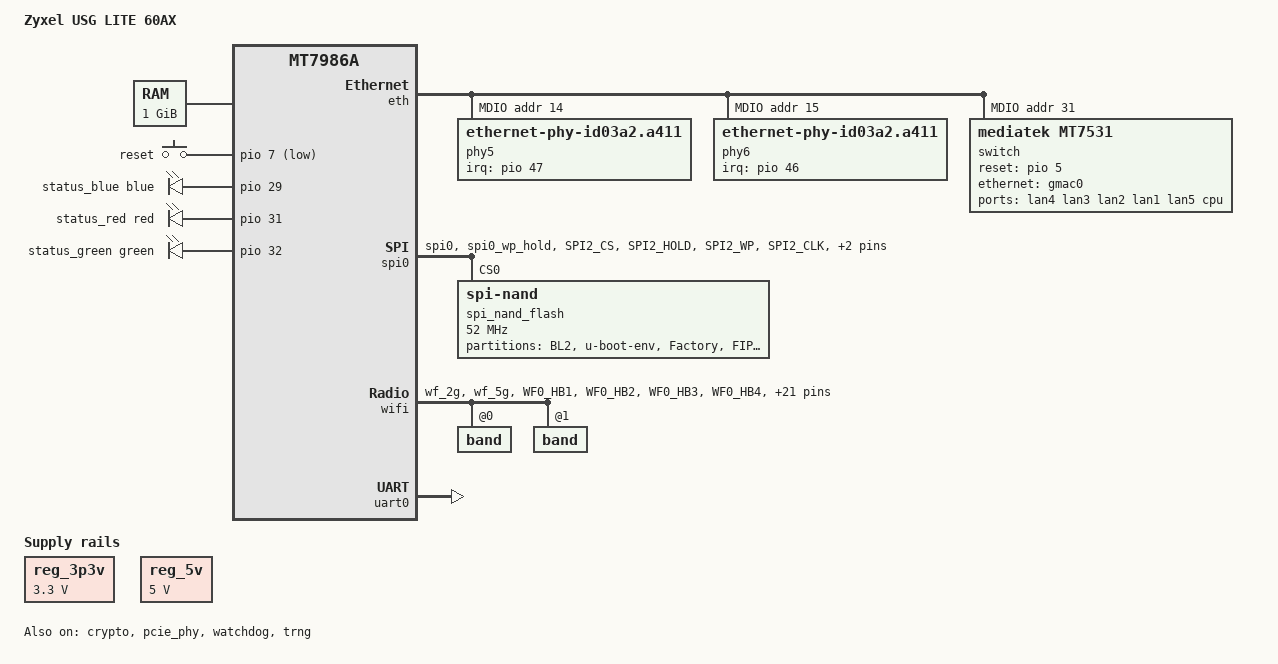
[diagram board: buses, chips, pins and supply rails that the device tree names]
// SPDX-License-Identifier: (GPL-2.0 OR MIT)

/dts-v1/;
#include <dt-bindings/input/input.h>
#include <dt-bindings/gpio/gpio.h>
#include <dt-bindings/leds/common.h>
#include <dt-bindings/pinctrl/mt65xx.h>

#include "mt7986a.dtsi"

/ {
	model = "Zyxel USG LITE 60AX";
	compatible = "zyxel,usg-lite-60ax", "mediatek,mt7986a";

	aliases {
		serial0 = &uart0;
		label-mac-device = &gmac0;
		led-boot = &status_green;
		led-failsafe = &status_red;
		led-running = &status_green;
		led-upgrade = &status_blue;
	};

	chosen {
		stdout-path = "serial0:115200n8";
		bootargs-override = "";
		bootargs = "earlycon=uart8250,mmio32,0x11002000 console=ttyS0,115200n8";
	};

	memory@40000000 {
		reg = <0 0x40000000 0 0x40000000>;
		device_type = "memory";
	};

	keys {
		compatible = "gpio-keys";

		reset {
			label = "reset";
			gpios = <&pio 7 GPIO_ACTIVE_LOW>;
			linux,code = <KEY_RESTART>;
		};

	};

	leds {
		compatible = "gpio-leds";

		status_blue: status-blue {
			color = <LED_COLOR_ID_BLUE>;
			function = LED_FUNCTION_STATUS;
			gpios = <&pio 29 GPIO_ACTIVE_HIGH>;
		};

		status_red: status-red {
			color = <LED_COLOR_ID_RED>;
			function = LED_FUNCTION_STATUS;
			gpios = <&pio 31 GPIO_ACTIVE_HIGH>;
		};

		status_green: status-green {
			color = <LED_COLOR_ID_GREEN>;
			function = LED_FUNCTION_STATUS;
			gpios = <&pio 32 GPIO_ACTIVE_HIGH>;
		};
	};

	reg_3p3v: regulator-3p3v {
		compatible = "regulator-fixed";
		regulator-name = "fixed-3.3V";
		regulator-min-microvolt = <3300000>;
		regulator-max-microvolt = <3300000>;
		regulator-boot-on;
		regulator-always-on;
	};

	reg_5v: regulator-5v {
		compatible = "regulator-fixed";
		regulator-name = "fixed-5V";
		regulator-min-microvolt = <5000000>;
		regulator-max-microvolt = <5000000>;
		regulator-boot-on;
		regulator-always-on;
	};
};

&crypto {
	status = "okay";
};

&eth {
	status = "okay";

	gmac0: mac@0 {
		/* LAN */
		compatible = "mediatek,eth-mac";
		reg = <0>;
		phy-mode = "2500base-x";

		nvmem-cell-names = "mac-address";
		nvmem-cells = <&macaddr_mrd_1fff8 0>;

		fixed-link {
			speed = <2500>;
			full-duplex;
			pause;
		};
	};

	gmac1: mac@1 {
		/* WAN */
		compatible = "mediatek,eth-mac";
		reg = <1>;
		phy-mode = "2500base-x";
		phy-handle = <&phy6>;
		label = "wan";

		nvmem-cell-names = "mac-address";
		nvmem-cells = <&macaddr_mrd_1fff8 3>;
	};

	mdio: mdio-bus {
		#address-cells = <1>;
		#size-cells = <0>;
	};
};

&mdio {
	reset-gpios = <&pio 10 GPIO_ACTIVE_LOW>;
	reset-delay-us = <100000>;
	reset-post-delay-us = <100000>;

	phy5: phy@5 {
		compatible = "ethernet-phy-id03a2.a411";
		reg = <14>;
		interrupt-parent = <&pio>;
		interrupts = <47 IRQ_TYPE_LEVEL_LOW>;

		leds {
			#address-cells = <1>;
			#size-cells = <0>;

			led@0 {
				reg = <0>;
				status = "disabled";
			};

			led@1 {
				reg = <1>;
				color = <LED_COLOR_ID_GREEN>;
				function = LED_FUNCTION_LAN;
				active-low;
			};

			led@2 {
				reg = <2>;
				color = <LED_COLOR_ID_AMBER>;
				function = LED_FUNCTION_LAN;
				active-low;
			};
		};
	};

	phy6: phy@6 {
		compatible = "ethernet-phy-id03a2.a411";
		reg = <15>;
		interrupt-parent = <&pio>;
		interrupts = <46 IRQ_TYPE_LEVEL_LOW>;

		leds {
			#address-cells = <1>;
			#size-cells = <0>;

			led@0 {
				reg = <0>;
				status = "disabled";
			};

			led@1 {
				reg = <1>;
				color = <LED_COLOR_ID_GREEN>;
				function = LED_FUNCTION_WAN;
				active-low;
			};

			led@2 {
				reg = <2>;
				color = <LED_COLOR_ID_AMBER>;
				function = LED_FUNCTION_WAN;
				active-low;
			};
		};
	};

	switch: switch@1f {
		compatible = "mediatek,mt7531";
		reg = <31>;
		reset-gpios = <&pio 5 GPIO_ACTIVE_HIGH>;
	};
};

&pio {
	spi_flash_pins: spi-flash-pins-33-to-38 {
		mux {
			function = "spi";
			groups = "spi0", "spi0_wp_hold";
		};
		conf-pu {
			pins = "SPI2_CS", "SPI2_HOLD", "SPI2_WP";
			drive-strength = <MTK_DRIVE_8mA>;
			bias-disable; /* bias-disable */
		};
		conf-pd {
			pins = "SPI2_CLK", "SPI2_MOSI", "SPI2_MISO";
			drive-strength = <MTK_DRIVE_8mA>;
			bias-disable; /* bias-disable */
		};
	};

	wf_2g_5g_pins: wf_2g_5g-pins {
		mux {
			function = "wifi";
			groups = "wf_2g", "wf_5g";
		};
		conf {
			pins = "WF0_HB1", "WF0_HB2", "WF0_HB3", "WF0_HB4",
			       "WF0_HB0", "WF0_HB0_B", "WF0_HB5", "WF0_HB6",
			       "WF0_HB7", "WF0_HB8", "WF0_HB9", "WF0_HB10",
			       "WF0_TOP_CLK", "WF0_TOP_DATA", "WF1_HB1",
			       "WF1_HB2", "WF1_HB3", "WF1_HB4", "WF1_HB0",
			       "WF1_HB5", "WF1_HB6", "WF1_HB7", "WF1_HB8",
			       "WF1_TOP_CLK", "WF1_TOP_DATA";
			drive-strength = <MTK_DRIVE_4mA>;
		};
	};

	wf_dbdc_pins: wf-dbdc-pins {
		mux {
			function = "wifi";
			groups = "wf_dbdc";
		};
		conf {
			pins = "WF0_HB1", "WF0_HB2", "WF0_HB3", "WF0_HB4",
				"WF0_HB0", "WF0_HB0_B", "WF0_HB5", "WF0_HB6",
				"WF0_HB7", "WF0_HB8", "WF0_HB9", "WF0_HB10",
				"WF0_TOP_CLK", "WF0_TOP_DATA", "WF1_HB1",
				"WF1_HB2", "WF1_HB3", "WF1_HB4", "WF1_HB0",
				"WF1_HB5", "WF1_HB6", "WF1_HB7", "WF1_HB8",
				"WF1_TOP_CLK", "WF1_TOP_DATA";
			drive-strength = <MTK_DRIVE_4mA>;
		};
	};
};

&pcie_phy {
	status = "okay";
};

&spi0 {
	pinctrl-names = "default";
	pinctrl-0 = <&spi_flash_pins>;
	status = "okay";

	spi_nand_flash: flash@0 {
		compatible = "spi-nand";
		reg = <0>;
		#address-cells = <1>;
		#size-cells = <1>;

		mediatek,nmbm;
		mediatek,bmt-max-ratio = <1>;
		mediatek,bmt-max-reserved-blocks = <256>;

		spi-max-frequency = <52000000>;
		spi-tx-bus-width = <4>;
		spi-rx-bus-width = <4>;

		partitions {
			compatible = "fixed-partitions";
			#address-cells = <1>;
			#size-cells = <1>;

			partition@0 {
				label = "BL2";
				reg = <0x0 0x100000>;
				read-only;
			};

			partition@100000 {
				label = "u-boot-env";
				reg = <0x100000 0x80000>;
			};

			factory: partition@180000 {
				label = "Factory";
				reg = <0x180000 0x200000>;
				read-only;

				nvmem-layout {
					compatible = "fixed-layout";
					#address-cells = <1>;
					#size-cells = <1>;

					eeprom_factory: eeprom@0 {
						reg = <0x0 0x1000>;
					};

					precal_factory_1010: precal@1010 {
						reg = <0x1010 0x62810>;
					};
				};
			};

			partition@380000 {
				label = "FIP";
				reg = <0x380000 0x200000>;
				read-only;
			};

			partition@580000 {
				label = "ubi";
				reg = <0x580000 0x5a00000>;
			};

			partition@5f80000 {
				label = "ubi_1";
				reg = <0x5f80000 0x5a00000>;
			};

			partition@b980000 {
				label = "rootfs_data";
				reg = <0xb980000 0xc680000>;
				read-only;
			};

			partition@18000000 {
				label = "logs";
				reg = <0x18000000 0x5000000>;
				read-only;
			};

			partition@1d000000 {
				label = "myzyxel";
				reg = <0x1d000000 0xf00000>;
				read-only;
			};

			partition@1df00000 {
				label = "bootconfig";
				reg = <0x1df00000 0x80000>;
			};

			partition@1df80000 {
				label = "mrd";
				reg = <0x1df80000 0x80000>;
				read-only;

				nvmem-layout {
					compatible = "fixed-layout";
					#address-cells = <1>;
					#size-cells = <1>;

					macaddr_mrd_1fff8: macaddr@1fff8 {
						compatible = "mac-base";
						reg = <0x1fff8 0x6>;
						#nvmem-cell-cells = <1>;
					};
				};
			};
		};
	};
};

&switch {
	ports {
		#address-cells = <1>;
		#size-cells = <0>;

		port@0 {
			reg = <0>;
			label = "lan4";
		};

		port@1 {
			reg = <1>;
			label = "lan3";
		};

		port@2 {
			reg = <2>;
			label = "lan2";
		};

		port@3 {
			reg = <3>;
			label = "lan1";
		};

		port@5 {
			reg = <5>;
			label = "lan5";
			phy-mode = "2500base-x";
			phy-handle = <&phy5>;
		};

		port@6 {
			reg = <6>;
			label = "cpu";
			ethernet = <&gmac0>;
			phy-mode = "2500base-x";

			fixed-link {
				speed = <2500>;
				full-duplex;
				pause;
			};
		};
	};
};

&watchdog {
	status = "okay";
};

&wifi {
	pinctrl-names = "default", "dbdc";
	pinctrl-0 = <&wf_2g_5g_pins>;
	pinctrl-1 = <&wf_dbdc_pins>;
	nvmem-cells = <&eeprom_factory>, <&precal_factory_1010>;
	nvmem-cell-names = "eeprom", "precal";
	status = "okay";

	band@0 {
		reg = <0>;
		nvmem-cells = <&macaddr_mrd_1fff8 4>;
		nvmem-cell-names = "mac-address";
	};

	band@1 {
		reg = <1>;
		nvmem-cells = <&macaddr_mrd_1fff8 5>;
		nvmem-cell-names = "mac-address";
	};
};

&trng {
	status = "okay";
};

&uart0 {
	status = "okay";
};

